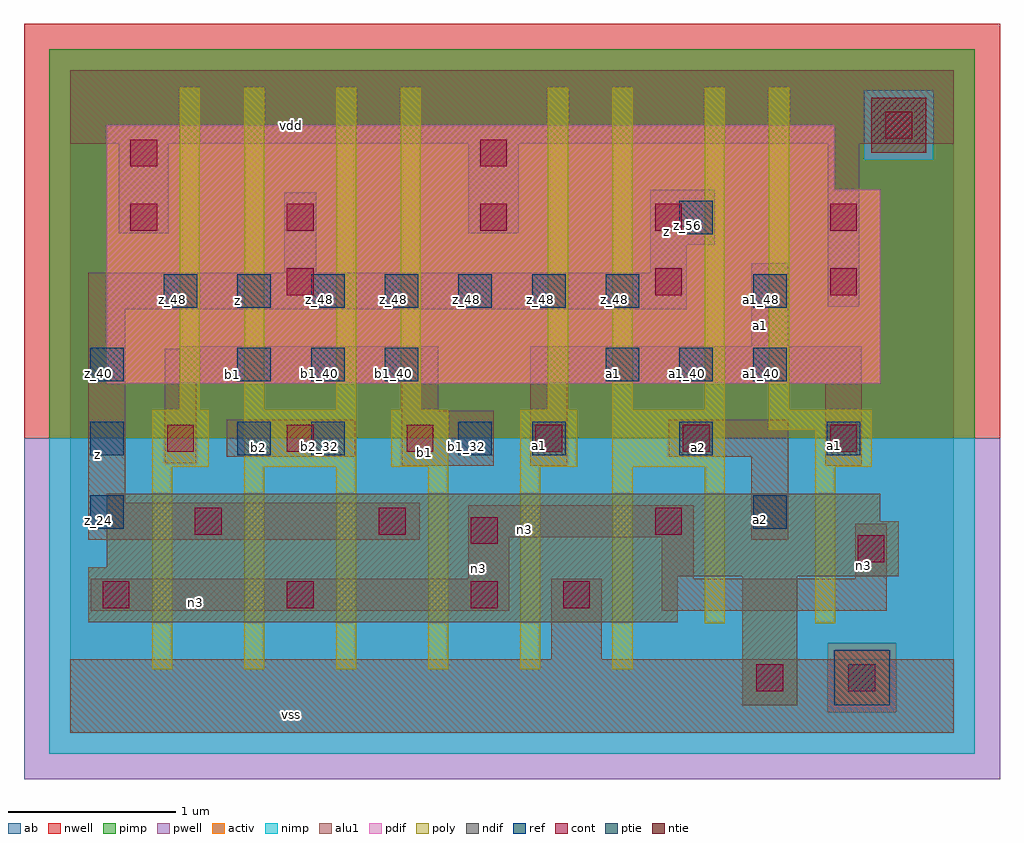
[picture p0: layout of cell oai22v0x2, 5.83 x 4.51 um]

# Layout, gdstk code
import gdstk
lib = gdstk.Library(unit=1e-6, precision=2.5e-09)
def R(c, l, rs):  # rectangles x0, y0, x1, y1
    for r in rs: c.add(gdstk.rectangle(r[:2], r[2:], *l))
def A(c, l, x, y, w, h, nx, ny, dx, dy):  # array of equal rectangles
    R(c, l, [(x+i*dx, y+j*dy, x+i*dx+w, y+j*dy+h) for i in range(nx) for j in range(ny)])
ndif = (3, 0)
pdif = (4, 0)
ntie = (5, 0)
ptie = (6, 0)
ref = (24, 0)
cont = (25, 0)
pwell = (41, 0)
nwell = (42, 0)
activ = (43, 0)
pimp = (44, 0)
nimp = (45, 0)
poly = (46, 0)
alu1 = (49, 0)
ab = (63, 0)

oai22v0x2 = lib.new_cell('oai22v0x2')
R(oai22v0x2, ndif, [(4.015,0.165,4.345,0.935), (0.11,0.66,3.63,0.935), (0.11,0.935,4.95,0.99), (0.22,0.99,4.95,1.265), (0.22,1.265,4.84,1.43)])
R(oai22v0x2, pdif, [(0.22,2.09,4.84,3.245), (0.22,3.245,4.565,3.63)])
R(oai22v0x2, ntie, [(4.785,3.465,5.115,3.795)])
R(oai22v0x2, ptie, [(4.565,0.165,4.895,0.495)])
A(oai22v0x2, ref, 0.12, 1.22, 0.2, 0.2, 1, 3, 0, 0.44)
A(oai22v0x2, ref, 2.76, 1.66, 0.2, 0.2, 3, 1, 0.88, 0)
A(oai22v0x2, ref, 1, 2.1, 0.2, 0.2, 3, 1, 0.44, 0)
A(oai22v0x2, ref, 3.2, 2.1, 0.2, 0.2, 3, 1, 0.44, 0)
A(oai22v0x2, ref, 0.56, 2.54, 0.2, 0.2, 7, 1, 0.44, 0)
R(oai22v0x2, ref, [(4.08,1.22,4.28,1.42), (1,1.66,1.2,1.86), (1.44,1.66,1.64,1.86), (2.32,1.66,2.52,1.86), (4.08,2.54,4.28,2.74), (3.64,2.98,3.84,3.18)])
A(oai22v0x2, cont, 0.195, 0.745, 0.16, 0.16, 3, 1, 1.1, 0)
A(oai22v0x2, cont, 0.58, 1.68, 0.16, 0.16, 3, 1, 0.715, 0)
A(oai22v0x2, cont, 2.78, 1.68, 0.16, 0.16, 3, 1, 0.88, 0)
A(oai22v0x2, cont, 2.45, 3, 0.16, 0.16, 3, 1, 1.045, 0)
R(oai22v0x2, cont, [(4.1,0.25,4.26,0.41), (4.65,0.25,4.81,0.41), (2.945,0.745,3.105,0.905), (4.705,1.02,4.865,1.18), (2.395,1.13,2.555,1.29), (0.745,1.185,0.905,1.345), (1.845,1.185,2.005,1.345), (3.495,1.185,3.655,1.345), (1.295,2.615,1.455,2.775), (3.495,2.615,3.655,2.775), (4.54,2.615,4.7,2.775), (0.36,3,0.52,3.16), (1.295,3,1.455,3.16), (0.36,3.385,0.52,3.545), (2.45,3.385,2.61,3.545), (4.87,3.55,5.03,3.71)])
R(oai22v0x2, pwell, [(-0.275,-0.275,5.555,1.76)])
R(oai22v0x2, nwell, [(-0.275,1.76,5.555,4.235)])
R(oai22v0x2, activ, [(4.015,0.165,4.345,0.935), (4.565,0.165,4.895,0.495), (0.11,0.66,3.63,0.935), (0.11,0.935,4.95,0.99), (0.22,0.99,4.95,1.265), (0.22,1.265,4.84,1.43), (0.22,2.09,4.84,3.245), (0.22,3.245,4.565,3.63), (4.785,3.465,5.115,3.795)])
R(oai22v0x2, pimp, [(4.525,0.125,4.935,0.535), (-0.125,1.76,5.405,3.425), (-0.125,3.425,4.745,3.835), (5.155,3.425,5.405,3.835), (-0.125,3.835,5.405,4.085)])
R(oai22v0x2, nimp, [(-0.125,-0.125,5.405,0.125), (-0.125,0.125,4.525,0.535), (4.935,0.125,5.405,0.535), (-0.125,0.535,5.405,1.76), (4.745,3.425,5.155,3.835)])
A(oai22v0x2, poly, 0.49, 0.38, 0.12, 1.21, 6, 1, 0.55, 0)
R(oai22v0x2, poly, [(3.79,0.655,3.91,1.59), (4.45,0.655,4.57,1.59), (0.49,1.59,0.83,1.93), (1.04,1.59,1.71,1.93), (1.92,1.59,2.26,1.93), (2.69,1.59,3.03,1.93), (3.24,1.59,3.91,1.93), (4.45,1.59,4.79,1.81), (4.175,1.81,4.79,1.93), (0.655,1.93,0.775,3.855), (1.04,1.93,1.16,3.855), (1.59,1.93,1.71,3.855), (1.975,1.93,2.095,3.855), (2.855,1.93,2.975,3.855), (3.24,1.93,3.36,3.855), (3.79,1.93,3.91,3.855), (4.175,1.93,4.295,3.855)])
R(oai22v0x2, alu1, [(0,0,5.28,0.44), (2.875,0.44,3.175,0.92), (0.125,0.73,2.625,0.92), (3.535,0.73,4.88,0.92), (2.38,0.92,2.625,1.17), (3.535,0.92,3.725,1.17), (4.69,0.92,4.88,1.25), (0.11,1.155,2.09,1.375), (4.07,1.155,4.29,1.65), (2.38,1.17,3.725,1.36), (0.11,1.375,0.33,2.53), (1.98,1.595,2.53,1.925), (2.75,1.595,2.97,2.09), (4.51,1.595,4.73,2.09), (0.565,1.61,0.755,2.09), (0.935,1.65,1.705,1.87), (3.575,1.65,4.29,1.87), (1.98,1.925,2.2,2.09), (0.565,2.09,2.2,2.295), (2.75,2.09,4.73,2.31), (0.66,2.295,2.2,2.31), (4.07,2.31,4.29,2.805), (0.11,2.53,3.685,2.75), (4.525,2.545,4.715,3.52), (1.28,2.75,1.47,3.23), (3.465,2.75,3.685,2.915), (3.465,2.915,3.85,3.245), (0.29,2.985,0.59,3.52), (2.38,2.985,2.68,3.52), (0,3.52,5.28,3.96)])
R(oai22v0x2, ab, [(0,0,5.28,3.96)])
oai22v0x2.add(gdstk.Label('vss', (1.32,0.11), layer=49, texttype=0))
oai22v0x2.add(gdstk.Label('n3', (0.75,0.7775), layer=49, texttype=0))
oai22v0x2.add(gdstk.Label('n3', (4.7375,1.0025), layer=49, texttype=0))
oai22v0x2.add(gdstk.Label('a1', (4.565,1.7175), layer=49, texttype=0))
oai22v0x2.add(gdstk.Label('a2', (4.125,1.2775), layer=49, texttype=0))
oai22v0x2.add(gdstk.Label('n3', (2.44,0.9825), layer=49, texttype=0))
oai22v0x2.add(gdstk.Label('n3', (2.715,1.2175), layer=49, texttype=0))
oai22v0x2.add(gdstk.Label('a2', (3.7525,1.705), layer=49, texttype=0))
oai22v0x2.add(gdstk.Label('a1', (2.805,1.7175), layer=49, texttype=0))
oai22v0x2.add(gdstk.Label('b1', (2.1175,1.6775), layer=49, texttype=0))
oai22v0x2.add(gdstk.Label('b2', (1.1275,1.705), layer=49, texttype=0))
oai22v0x2.add(gdstk.Label('a1', (3.245,2.145), layer=49, texttype=0))
oai22v0x2.add(gdstk.Label('b1', (0.9725,2.14), layer=49, texttype=0))
oai22v0x2.add(gdstk.Label('a1', (4.125,2.4325), layer=49, texttype=0))
oai22v0x2.add(gdstk.Label('z', (0.165,1.6625), layer=49, texttype=0))
oai22v0x2.add(gdstk.Label('z', (1.0025,2.585), layer=49, texttype=0))
oai22v0x2.add(gdstk.Label('z', (3.56,2.9975), layer=49, texttype=0))
oai22v0x2.add(gdstk.Label('vdd', (1.32,3.63), layer=49, texttype=0))
oai22v0x2.add(gdstk.Label('z_48', (0.61,2.59), layer=24, texttype=0))
oai22v0x2.add(gdstk.Label('b2_32', (1.05,1.71), layer=24, texttype=0))
oai22v0x2.add(gdstk.Label('b1_40', (1.05,2.15), layer=24, texttype=0))
oai22v0x2.add(gdstk.Label('z_48', (1.05,2.59), layer=24, texttype=0))
oai22v0x2.add(gdstk.Label('b2_32', (1.49,1.71), layer=24, texttype=0))
oai22v0x2.add(gdstk.Label('b1_40', (1.49,2.15), layer=24, texttype=0))
oai22v0x2.add(gdstk.Label('z_48', (1.49,2.59), layer=24, texttype=0))
oai22v0x2.add(gdstk.Label('b1_40', (1.93,2.15), layer=24, texttype=0))
oai22v0x2.add(gdstk.Label('z_48', (1.93,2.59), layer=24, texttype=0))
oai22v0x2.add(gdstk.Label('z_24', (0.17,1.27), layer=24, texttype=0))
oai22v0x2.add(gdstk.Label('z_32', (0.17,1.71), layer=24, texttype=0))
oai22v0x2.add(gdstk.Label('z_40', (0.17,2.15), layer=24, texttype=0))
oai22v0x2.add(gdstk.Label('b1_32', (2.37,1.71), layer=24, texttype=0))
oai22v0x2.add(gdstk.Label('z_48', (2.37,2.59), layer=24, texttype=0))
oai22v0x2.add(gdstk.Label('a1_32', (2.81,1.71), layer=24, texttype=0))
oai22v0x2.add(gdstk.Label('z_48', (2.81,2.59), layer=24, texttype=0))
oai22v0x2.add(gdstk.Label('a1_40', (3.25,2.15), layer=24, texttype=0))
oai22v0x2.add(gdstk.Label('z_48', (3.25,2.59), layer=24, texttype=0))
oai22v0x2.add(gdstk.Label('a2_32', (3.69,1.71), layer=24, texttype=0))
oai22v0x2.add(gdstk.Label('a1_40', (3.69,2.15), layer=24, texttype=0))
oai22v0x2.add(gdstk.Label('z_56', (3.69,3.03), layer=24, texttype=0))
oai22v0x2.add(gdstk.Label('a2_24', (4.13,1.27), layer=24, texttype=0))
oai22v0x2.add(gdstk.Label('a1_40', (4.13,2.15), layer=24, texttype=0))
oai22v0x2.add(gdstk.Label('a1_48', (4.13,2.59), layer=24, texttype=0))
oai22v0x2.add(gdstk.Label('a1_32', (4.57,1.71), layer=24, texttype=0))

lib.write_gds('oai22v0x2.gds')
